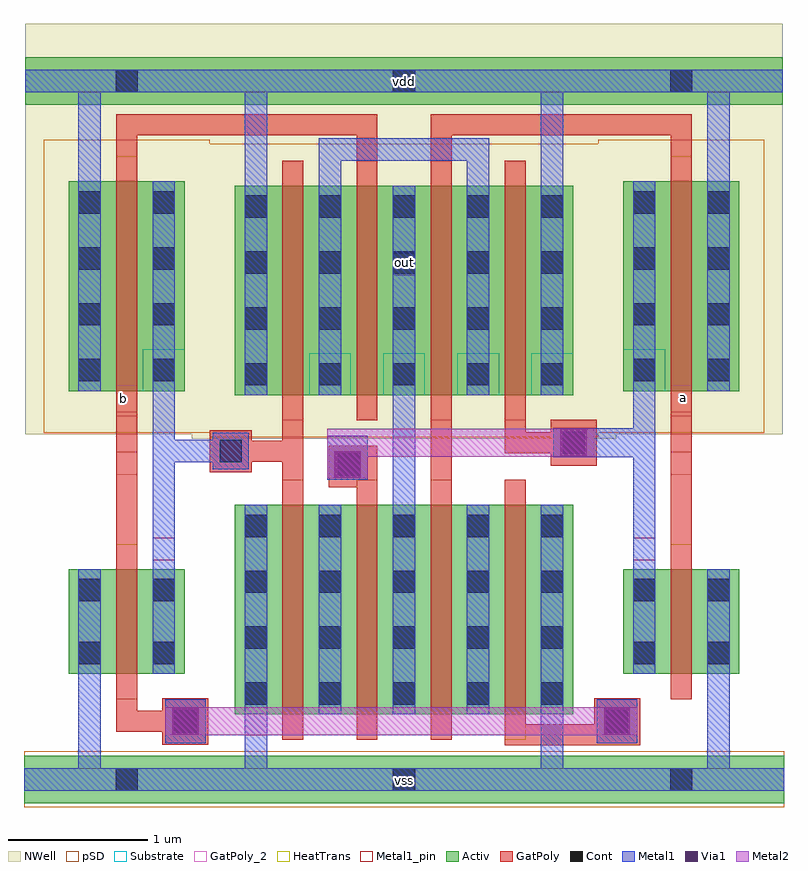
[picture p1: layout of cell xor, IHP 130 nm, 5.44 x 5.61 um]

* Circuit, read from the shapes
.subckt xor a b out vdd vss
XM1 inverter$1_11/out b vss vss sg13_lv_nmos w=0.75u l=0.15u
XM2 n1 inverter$1_11/out vss vss sg13_lv_nmos w=1.5u l=0.15u
XM3 out inverter$2_12/out n1 vss sg13_lv_nmos w=1.5u l=0.15u
XM4 n2 a out vss sg13_lv_nmos w=1.5u l=0.15u
XM5 vss b n2 vss sg13_lv_nmos w=1.5u l=0.15u
XM6 vss a inverter$2_12/out vss sg13_lv_nmos w=0.75u l=0.15u
XM7 inverter$1_11/out b vdd vdd sg13_lv_pmos w=1.5u l=0.15u
XM8 n3 inverter$1_11/out vdd vdd sg13_lv_pmos w=1.5u l=0.15u
XM9 out b n3 vdd sg13_lv_pmos w=1.5u l=0.15u
XM10 n3 a out vdd sg13_lv_pmos w=1.5u l=0.15u
XM11 vdd inverter$2_12/out n3 vdd sg13_lv_pmos w=1.5u l=0.15u
XM12 vdd a inverter$2_12/out vdd sg13_lv_pmos w=1.5u l=0.15u
.ends

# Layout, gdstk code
from math import pi, radians
import gdstk
lib = gdstk.Library(unit=1e-6, precision=5e-09)
def R(c, l, rs):  # rectangles x0, y0, x1, y1
    for r in rs: c.add(gdstk.rectangle(r[:2], r[2:], *l))
def A(c, l, x, y, w, h, nx, ny, dx, dy):  # array of equal rectangles
    R(c, l, [(x+i*dx, y+j*dy, x+i*dx+w, y+j*dy+h) for i in range(nx) for j in range(ny)])
Activ = (1, 0)
GatPoly = (5, 0)
GatPoly_2 = (5, 2)
Cont = (6, 0)
Metal1 = (8, 0)
Metal1_pin = (8, 2)
Metal2 = (10, 0)
pSD = (14, 0)
Via1 = (19, 0)
NWell = (31, 0)
Substrate = (40, 0)
HeatTrans = (51, 0)

pmos = lib.new_cell('pmos')
R(pmos, Activ, [(0,0,0.3,0.3), (0,0,0.83,1.5), (0.53,0,0.83,0.3)])
R(pmos, GatPoly, [(0.34,-0.18,0.49,1.68), (0.34,-0.18,0.49,1.68)])
A(pmos, Cont, 0.07, 0.07, 0.16, 0.16, 1, 4, 0, 0.4)
A(pmos, Cont, 0.6, 0.07, 0.16, 0.16, 1, 4, 0, 0.4)
R(pmos, Metal1, [(0.07,0,0.23,1.5), (0.07,0,0.23,1.5), (0.6,0,0.76,1.5), (0.6,0,0.76,1.5)])
R(pmos, pSD, [(-0.18,-0.3,1.01,1.8)])
R(pmos, NWell, [(-0.31,-0.31,1.14,1.81)])
R(pmos, Substrate, [(0.53,0,0.83,0.3)])
R(pmos, HeatTrans, [(0.34,-0.18,0.49,1.68)])
pmos.add(gdstk.Label('pmos', (0.415,0.75), layer=63, texttype=0))
pmos.add(gdstk.Label('pmos', (0.415,0.75), layer=51, texttype=0))

nmos = lib.new_cell('nmos')
R(nmos, Activ, [(0,0,0.3,0.3), (0,0,0.83,1.5), (0.53,0,0.83,0.3)])
R(nmos, GatPoly, [(0.34,-0.18,0.49,1.68)])
R(nmos, GatPoly_2, [(0.34,-0.18,0.49,1.68)])
A(nmos, Cont, 0.07, 0.07, 0.16, 0.16, 1, 4, 0, 0.4)
A(nmos, Cont, 0.6, 0.07, 0.16, 0.16, 1, 4, 0, 0.4)
R(nmos, Metal1, [(0.07,0,0.23,1.5), (0.6,0,0.76,1.5)])
R(nmos, Metal1_pin, [(0.07,0,0.23,1.5), (0.6,0,0.76,1.5)])
R(nmos, HeatTrans, [(0.34,-0.18,0.49,1.68)])
nmos.add(gdstk.Label('nmos', (0.415,0.75), layer=63, texttype=0))
nmos.add(gdstk.Label('nmos', (0.415,0.75), layer=51, texttype=0))

via_stack_1 = lib.new_cell('via_stack$1')
R(via_stack_1, Metal1, [(-0.145,-0.105,0.145,0.105)])
R(via_stack_1, Metal2, [(-0.145,-0.1,0.145,0.1)])
R(via_stack_1, Via1, [(-0.095,-0.095,0.095,0.095)])

m1_cont1_pmos_1 = lib.new_cell('M1_Cont1_PMOS$1')
R(m1_cont1_pmos_1, Activ, [(-0.72,-0.175,0.73,0.165)])
R(m1_cont1_pmos_1, Cont, [(-0.075,-0.085,0.085,0.075)])
R(m1_cont1_pmos_1, Metal1, [(-0.72,-0.085,0.73,0.075)])
R(m1_cont1_pmos_1, Metal1_pin, [(-0.72,-0.085,0.73,0.075)])
R(m1_cont1_pmos_1, NWell, [(-0.72,-0.415,0.73,0.405)])

m1_bulkcont1_pmos_1 = lib.new_cell('M1_BulkCont1_PMOS$1')
r = gdstk.Reference(m1_cont1_pmos_1, (-0.015,-0.015)); r.repetition = gdstk.Repetition(1, 1, v1=(0,0), v2=(0,0)); m1_bulkcont1_pmos_1.add(r)

m1_cont1_nmos_1 = lib.new_cell('M1_Cont1_NMOS$1')
R(m1_cont1_nmos_1, Activ, [(-0.725,-0.175,0.725,0.165)])
R(m1_cont1_nmos_1, Cont, [(-0.07,-0.085,0.09,0.075)])
R(m1_cont1_nmos_1, Metal1, [(-0.725,-0.085,0.725,0.075)])
R(m1_cont1_nmos_1, Metal1_pin, [(-0.725,-0.085,0.725,0.075)])
R(m1_cont1_nmos_1, pSD, [(-0.725,-0.205,0.725,0.195)])

m1_bulkcont1_nmos_1 = lib.new_cell('M1_BulkCont1_NMOS$1')
r = gdstk.Reference(m1_cont1_nmos_1, (0.005,0.01)); r.repetition = gdstk.Repetition(1, 1, v1=(0,0), v2=(0,0)); m1_bulkcont1_nmos_1.add(r)

nmos_2 = lib.new_cell('nmos$2')
R(nmos_2, Activ, [(0,0,0.3,0.3), (0,0,0.83,0.75), (0.53,0,0.83,0.3)])
R(nmos_2, GatPoly, [(0.34,-0.18,0.49,0.93)])
R(nmos_2, GatPoly_2, [(0.34,-0.18,0.49,0.93)])
R(nmos_2, Cont, [(0.07,0.07,0.23,0.23), (0.6,0.07,0.76,0.23), (0.07,0.52,0.23,0.68), (0.6,0.52,0.76,0.68)])
R(nmos_2, Metal1, [(0.07,0,0.23,0.75), (0.6,0,0.76,0.75)])
R(nmos_2, Metal1_pin, [(0.07,0,0.23,0.75), (0.6,0,0.76,0.75)])
R(nmos_2, HeatTrans, [(0.34,-0.18,0.49,0.93)])
nmos_2.add(gdstk.Label('nmos', (0.415,0.375), layer=63, texttype=0))
nmos_2.add(gdstk.Label('nmos', (0.415,0.375), layer=51, texttype=0))

pmos_1_1_1 = lib.new_cell('pmos$1$1$1')
R(pmos_1_1_1, Activ, [(0,0,0.3,0.3), (0,0,0.83,1.5), (0.53,0,0.83,0.3)])
R(pmos_1_1_1, GatPoly, [(0.34,-0.18,0.49,1.68), (0.34,-0.18,0.49,1.68)])
A(pmos_1_1_1, Cont, 0.07, 0.07, 0.16, 0.16, 1, 4, 0, 0.4)
A(pmos_1_1_1, Cont, 0.6, 0.07, 0.16, 0.16, 1, 4, 0, 0.4)
R(pmos_1_1_1, Metal1, [(0.07,0,0.23,1.5), (0.07,0,0.23,1.5), (0.6,0,0.76,1.5), (0.6,0,0.76,1.5)])
R(pmos_1_1_1, pSD, [(-0.18,-0.3,1.01,1.8)])
R(pmos_1_1_1, NWell, [(-0.31,-0.31,1.14,1.81)])
R(pmos_1_1_1, Substrate, [(0.53,0,0.83,0.3)])
R(pmos_1_1_1, HeatTrans, [(0.34,-0.18,0.49,1.68)])
pmos_1_1_1.add(gdstk.Label('pmos', (0.415,0.75), layer=63, texttype=0))
pmos_1_1_1.add(gdstk.Label('pmos', (0.415,0.75), layer=51, texttype=0))

inverter_1 = lib.new_cell('inverter$1')
R(inverter_1, GatPoly, [(-0.075,-1.72,0.075,0.805)])
R(inverter_1, GatPoly_2, [(-0.075,-0.425,0.075,-0.26)])
R(inverter_1, Cont, [(-0.08,-2.685,0.08,-2.525), (-0.08,2.315,0.08,2.475)])
R(inverter_1, Metal1, [(-0.345,-2.685,-0.185,-1.72), (0.185,-1.72,0.345,0.805), (-0.345,1.37,-0.185,2.475)])
R(inverter_1, Metal1_pin, [(-0.08,-2.685,0.08,-2.525), (0.185,-1.035,0.345,-0.875), (-0.08,2.315,0.08,2.475)])
inverter_1.add(gdstk.Reference(m1_bulkcont1_pmos_1, (0.01,2.415)))
inverter_1.add(gdstk.Reference(m1_bulkcont1_nmos_1, (-0.015,-2.61)))
inverter_1.add(gdstk.Reference(nmos_2, (-0.415,-1.85)))
inverter_1.add(gdstk.Reference(pmos_1_1_1, (-0.415,0.175)))
inverter_1.add(gdstk.Label('vdd', (-0.015,2.39), layer=8, texttype=2))
inverter_1.add(gdstk.Label('vss', (-0.01,-2.62), layer=8, texttype=2))
inverter_1.add(gdstk.Label('out', (0.27,-0.95), layer=8, texttype=2))
inverter_1.add(gdstk.Label('in', (-0.025,-0.34), layer=5, texttype=2))

m1_cont1_pmos_1_1 = lib.new_cell('M1_Cont1_PMOS$1$1')
R(m1_cont1_pmos_1_1, Activ, [(-0.72,-0.175,0.73,0.165)])
R(m1_cont1_pmos_1_1, Cont, [(-0.075,-0.085,0.085,0.075)])
R(m1_cont1_pmos_1_1, Metal1, [(-0.72,-0.085,0.73,0.075)])
R(m1_cont1_pmos_1_1, Metal1_pin, [(-0.72,-0.085,0.73,0.075)])
R(m1_cont1_pmos_1_1, NWell, [(-0.72,-0.415,0.73,0.405)])

m1_bulkcont1_pmos_1_1 = lib.new_cell('M1_BulkCont1_PMOS$1$1')
r = gdstk.Reference(m1_cont1_pmos_1_1, (-0.015,-0.015)); r.repetition = gdstk.Repetition(1, 1, v1=(0,0), v2=(0,0)); m1_bulkcont1_pmos_1_1.add(r)

m1_cont1_nmos_1_1 = lib.new_cell('M1_Cont1_NMOS$1$1')
R(m1_cont1_nmos_1_1, Activ, [(-0.725,-0.175,0.725,0.165)])
R(m1_cont1_nmos_1_1, Cont, [(-0.07,-0.085,0.09,0.075)])
R(m1_cont1_nmos_1_1, Metal1, [(-0.725,-0.085,0.725,0.075)])
R(m1_cont1_nmos_1_1, Metal1_pin, [(-0.725,-0.085,0.725,0.075)])
R(m1_cont1_nmos_1_1, pSD, [(-0.725,-0.205,0.725,0.195)])

m1_bulkcont1_nmos_1_1 = lib.new_cell('M1_BulkCont1_NMOS$1$1')
r = gdstk.Reference(m1_cont1_nmos_1_1, (0.005,0.01)); r.repetition = gdstk.Repetition(1, 1, v1=(0,0), v2=(0,0)); m1_bulkcont1_nmos_1_1.add(r)

pmos_1 = lib.new_cell('pmos$1')
R(pmos_1, Activ, [(0,0,0.3,0.3), (0,0,0.83,1.5), (0.53,0,0.83,0.3)])
R(pmos_1, GatPoly, [(0.34,-0.18,0.49,1.68), (0.34,-0.18,0.49,1.68)])
A(pmos_1, Cont, 0.07, 0.07, 0.16, 0.16, 1, 4, 0, 0.4)
A(pmos_1, Cont, 0.6, 0.07, 0.16, 0.16, 1, 4, 0, 0.4)
R(pmos_1, Metal1, [(0.07,0,0.23,1.5), (0.07,0,0.23,1.5), (0.6,0,0.76,1.5), (0.6,0,0.76,1.5)])
R(pmos_1, pSD, [(-0.18,-0.3,1.01,1.8)])
R(pmos_1, NWell, [(-0.31,-0.31,1.14,1.81)])
R(pmos_1, Substrate, [(0.53,0,0.83,0.3)])
R(pmos_1, HeatTrans, [(0.34,-0.18,0.49,1.68)])
pmos_1.add(gdstk.Label('pmos', (0.415,0.75), layer=63, texttype=0))
pmos_1.add(gdstk.Label('pmos', (0.415,0.75), layer=51, texttype=0))

nmos_3 = lib.new_cell('nmos$3')
R(nmos_3, Activ, [(0,0,0.3,0.3), (0,0,0.83,0.75), (0.53,0,0.83,0.3)])
R(nmos_3, GatPoly, [(0.34,-0.18,0.49,0.93)])
R(nmos_3, GatPoly_2, [(0.34,-0.18,0.49,0.93)])
R(nmos_3, Cont, [(0.07,0.07,0.23,0.23), (0.6,0.07,0.76,0.23), (0.07,0.52,0.23,0.68), (0.6,0.52,0.76,0.68)])
R(nmos_3, Metal1, [(0.07,0,0.23,0.75), (0.6,0,0.76,0.75)])
R(nmos_3, Metal1_pin, [(0.07,0,0.23,0.75), (0.6,0,0.76,0.75)])
R(nmos_3, HeatTrans, [(0.34,-0.18,0.49,0.93)])
nmos_3.add(gdstk.Label('nmos', (0.415,0.375), layer=63, texttype=0))
nmos_3.add(gdstk.Label('nmos', (0.415,0.375), layer=51, texttype=0))

inverter_2 = lib.new_cell('inverter$2')
R(inverter_2, GatPoly, [(-0.075,-1.235,0.075,0.805)])
R(inverter_2, GatPoly_2, [(-0.075,-0.425,0.075,-0.26)])
R(inverter_2, Cont, [(-0.08,-2.685,0.08,-2.525), (-0.08,2.315,0.08,2.475)])
R(inverter_2, Metal1, [(-0.345,-2.685,-0.185,-1.72), (0.185,-1.305,0.345,0.805), (-0.345,1.37,-0.185,2.475)])
R(inverter_2, Metal1_pin, [(-0.08,-2.685,0.08,-2.525), (0.185,-1.035,0.345,-0.875), (-0.08,2.315,0.08,2.475)])
inverter_2.add(gdstk.Reference(m1_bulkcont1_pmos_1_1, (0.01,2.415)))
inverter_2.add(gdstk.Reference(m1_bulkcont1_nmos_1_1, (-0.015,-2.61)))
inverter_2.add(gdstk.Reference(pmos_1, (-0.415,0.175)))
inverter_2.add(gdstk.Reference(nmos_3, (-0.415,-1.85)))
inverter_2.add(gdstk.Label('vdd', (-0.015,2.39), layer=8, texttype=2))
inverter_2.add(gdstk.Label('vss', (-0.01,-2.62), layer=8, texttype=2))
inverter_2.add(gdstk.Label('out', (0.27,-0.95), layer=8, texttype=2))
inverter_2.add(gdstk.Label('in', (-0.025,-0.34), layer=5, texttype=2))

xor = lib.new_cell('xor')
R(xor, Activ, [(-2.81,-1.84,-0.01,-1.5), (-2.93,3.16,0.11,3.5)])
R(xor, GatPoly, [(-0.69,-1.425,-0.54,-1.085), (-0.69,-1.425,0.21,-1.275), (-0.05,-1.425,0.28,-1.09), (-3.14,-1.42,-2.81,-1.09), (-2.28,0.22,-2.13,1.195), (-1.95,0.42,-1.6,0.72), (-2.8,0.53,-2.5,0.83), (-0.36,0.575,-0.03,0.905), (-3.47,0.96,-3.32,1.15), (-3.47,0.96,-3.32,1.15), (0.5,0.96,0.65,1.15), (-1.75,2.46,-1.6,3.09), (-1.22,2.69,-1.07,3.09)])
R(xor, GatPoly_2, [(-3.47,0.96,-3.32,1.15), (0.5,0.96,0.65,1.15)])
R(xor, Cont, [(-1.49,-1.75,-1.33,-1.59), (-3.055,-1.335,-2.895,-1.175), (0.035,-1.335,0.195,-1.175), (-1.88,0.505,-1.72,0.665), (-2.73,0.6,-2.57,0.76), (-0.275,0.66,-0.115,0.82), (-1.49,3.25,-1.33,3.41)])
R(xor, Metal1, [(-2.81,-1.75,-0.01,-1.59), (-0.43,-1.745,-0.27,-0.95), (-3.12,-1.41,-2.83,-1.095), (-0.03,-1.41,0.26,-1.095), (-1.96,0.475,-1.67,0.79), (-2.78,0.55,-2.52,0.81), (-0.34,0.635,0.39,0.845), (-2.55,2.465,-2.39,3.41), (-0.43,2.465,-0.27,3.41), (-2.93,3.25,0.11,3.41)])
R(xor, Metal1_pin, [(-2.81,-1.75,-0.01,-1.59), (-2.81,-1.75,-0.01,-1.59), (-1.475,-1.74,-1.345,-1.61), (-1.49,1.94,-1.33,2.1), (-2.93,3.25,0.11,3.41), (-1.475,3.26,-1.345,3.39)])
R(xor, pSD, [(-2.81,-1.87,-0.01,-1.47)])
R(xor, NWell, [(-2.93,2.89,0.11,3.74)])
xor.add(gdstk.FlexPath([(-1.94,2.58),(-1.94,2.84),(-0.88,2.84),(-0.88,2.58)], 0.16, ends="flush", simple_path=True, layer=8, datatype=0))  # Metal1
xor.add(gdstk.FlexPath([(-2.65,0.68),(-3.05,0.68)], 0.16, ends="flush", simple_path=True, layer=8, datatype=0))  # Metal1
xor.add(gdstk.FlexPath([(-2.47,-0.975),(-2.47,-1.75)], 0.16, ends="flush", simple_path=True, layer=8, datatype=0))  # Metal1
xor.add(gdstk.FlexPath([(-1.41,1.345),(-1.41,0.01),(-1.41,-0.07),(-1.41,-0.07)], 0.16, ends="flush", simple_path=True, layer=8, datatype=0))  # Metal1
xor.add(gdstk.FlexPath([(-3.07,-1.255),(-3.395,-1.255),(-3.395,-0.915)], 0.15, ends="flush", simple_path=True, layer=5, datatype=0))  # GatPoly
xor.add(gdstk.FlexPath([(-1.6,3.015),(-3.395,3.015),(-3.395,2.73),(-3.395,2.5)], 0.15, ends="flush", simple_path=True, layer=5, datatype=0))  # GatPoly
xor.add(gdstk.FlexPath([(-1.22,3.015),(0.575,3.015),(0.575,2.875),(0.575,2.655)], 0.15, ends="flush", simple_path=True, layer=5, datatype=0))  # GatPoly
xor.add(gdstk.FlexPath([(-2.65,0.68),(-2.28,0.68)], 0.15, ends="flush", simple_path=True, layer=5, datatype=0))  # GatPoly
xor.add(gdstk.FlexPath([(-0.615,1.19),(-0.615,0.74),(-0.395,0.74),(-0.36,0.74)], 0.15, ends="flush", simple_path=True, layer=5, datatype=0))  # GatPoly
xor.add(gdstk.FlexPath([(-1.145,1.19),(-1.145,0.295),(-1.145,0.295)], 0.15, ends="flush", simple_path=True, layer=5, datatype=0))  # GatPoly
xor.add(gdstk.FlexPath([(-3.12,-1.255),(0.21,-1.255)], 0.2, ends="flush", simple_path=True, layer=10, datatype=0))  # Metal2
xor.add(gdstk.FlexPath([(-1.96,0.74),(-0.38,0.74),(-0.05,0.74)], 0.2, ends="flush", simple_path=True, layer=10, datatype=0))  # Metal2
xor.add(gdstk.Reference(pmos, (-1.56,1.08)))
xor.add(gdstk.Reference(pmos, (-2.62,1.08)))
xor.add(gdstk.Reference(pmos, (-1.03,1.08)))
xor.add(gdstk.Reference(pmos, (-2.09,1.08)))
xor.add(gdstk.Reference(nmos, (-1.56,-1.205)))
xor.add(gdstk.Reference(nmos, (-1.03,-1.205)))
xor.add(gdstk.Reference(nmos, (-2.09,-1.205)))
xor.add(gdstk.Reference(nmos, (-2.62,-1.205)))
xor.add(gdstk.Reference(via_stack_1, (-2.975,-1.255)))
xor.add(gdstk.Reference(via_stack_1, (0.115,-1.255)))
xor.add(gdstk.Reference(via_stack_1, (-1.815,0.585)))
xor.add(gdstk.Reference(inverter_1, (-3.395,0.935)))
xor.add(gdstk.Reference(inverter_2, (0.575,0.935), rotation=pi, x_reflection=True))
xor.add(gdstk.Reference(via_stack_1, (-0.195,0.74)))
xor.add(gdstk.Label('out', (-1.41,2.03), layer=8, texttype=2))
xor.add(gdstk.Label('b', (-3.415,1.06), layer=5, texttype=2))
xor.add(gdstk.Label('a', (0.59,1.065), layer=5, texttype=2))
xor.add(gdstk.Label('vss', (-1.41,-1.675), layer=8, texttype=25))
xor.add(gdstk.Label('vdd', (-1.41,3.325), layer=8, texttype=25))

lib.write_gds('xor.gds')
